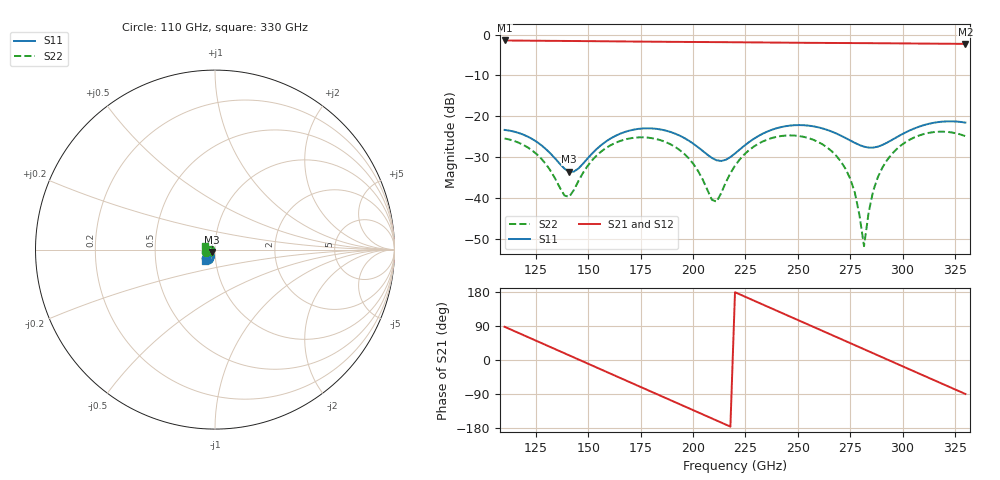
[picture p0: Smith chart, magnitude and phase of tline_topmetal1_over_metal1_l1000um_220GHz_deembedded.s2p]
! Created with skrf 2.0.1 (http://scikit-rf.org).
# GHz S DB R 50.0
!freq dBS11 angS11 dBS21 angS21 dBS12 angS12 dBS22 angS22
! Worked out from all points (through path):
!   101 points, 110 GHz to 330 GHz, reference 50 ohm
!   highest |S21| = -1.42 dB at 110 GHz (marker M1); lowest = -2.3 dB at 330 GHz (marker M2)
!   group delay of S21, straight-line fit = 6.78 ps
!   lowest |S11| = -33.6 dB at 140.8 GHz (marker M3), VSWR 1.04, Z = 48.4 - j1.31 ohm
!   |S11| at or under -10 dB: start of sweep to end of sweep
!   |S22| runs from -51.8 to -23.8 dB; largest |S21 - S12| = 9.3e-14
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110  -23.33 -139.4  -1.42 87.6  -1.42 87.6  -25.43 -165.2
125.4  -26.27 -163.4  -1.49 50.0  -1.49 50.0  -29.31 164.0
140.8  -33.56 -139.8  -1.55 12.4  -1.55 12.4  -39.72 -150.5
147.4  -31.62 -107.0  -1.57 -3.8  -1.57 -3.8  -33.88 -117.3
162.8  -24.81 -106.9  -1.64 -41.5  -1.64 -41.5  -26.51 -136.5
173.8  -23.08 -123.1  -1.69 -68.4  -1.69 -68.4  -25.16 -160.0
184.8  -23.25 -140.0  -1.74 -95.2  -1.74 -95.2  -25.90 176.1
198  -25.98 -154.1  -1.79 -127.4  -1.79 -127.4  -30.34 151.7
209  -30.19 -142.9  -1.82 -154.3  -1.82 -154.3  -40.45 176.3
211.2  -30.76 -135.2  -1.83 -159.7  -1.83 -159.7  -40.91 -154.7
220  -29.10 -104.7  -1.86 178.8  -1.86 178.8  -32.09 -118.9
237.6  -23.29 -107.1  -1.93 135.8  -1.93 135.8  -25.31 -149.8
257.4  -22.44 -132.2  -2.01 87.5  -2.01 87.5  -25.74 164.7
268.4  -24.21 -141.4  -2.04 60.7  -2.04 60.7  -29.69 139.9
275  -25.91 -140.4  -2.06 44.6  -2.06 44.6  -35.25 127.8
277.2  -26.49 -138.2  -2.06 39.2  -2.06 39.2  -38.62 126.5
281.6  -27.43 -130.6  -2.08 28.5  -2.08 28.5  -51.80 -162.1
283.8  -27.65 -125.4  -2.08 23.1  -2.08 23.1  -43.57 -105.0
286  -27.65 -119.9  -2.09 17.7  -2.09 17.7  -38.22 -99.7
294.8  -25.82 -104.0  -2.12 -3.8  -2.12 -3.8  -29.28 -113.7
314.6  -21.61 -112.2  -2.20 -52.2  -2.20 -52.2  -23.88 -160.4
330  -21.53 -129.2  -2.25 -89.7  -2.25 -89.7  -24.86 161.8
